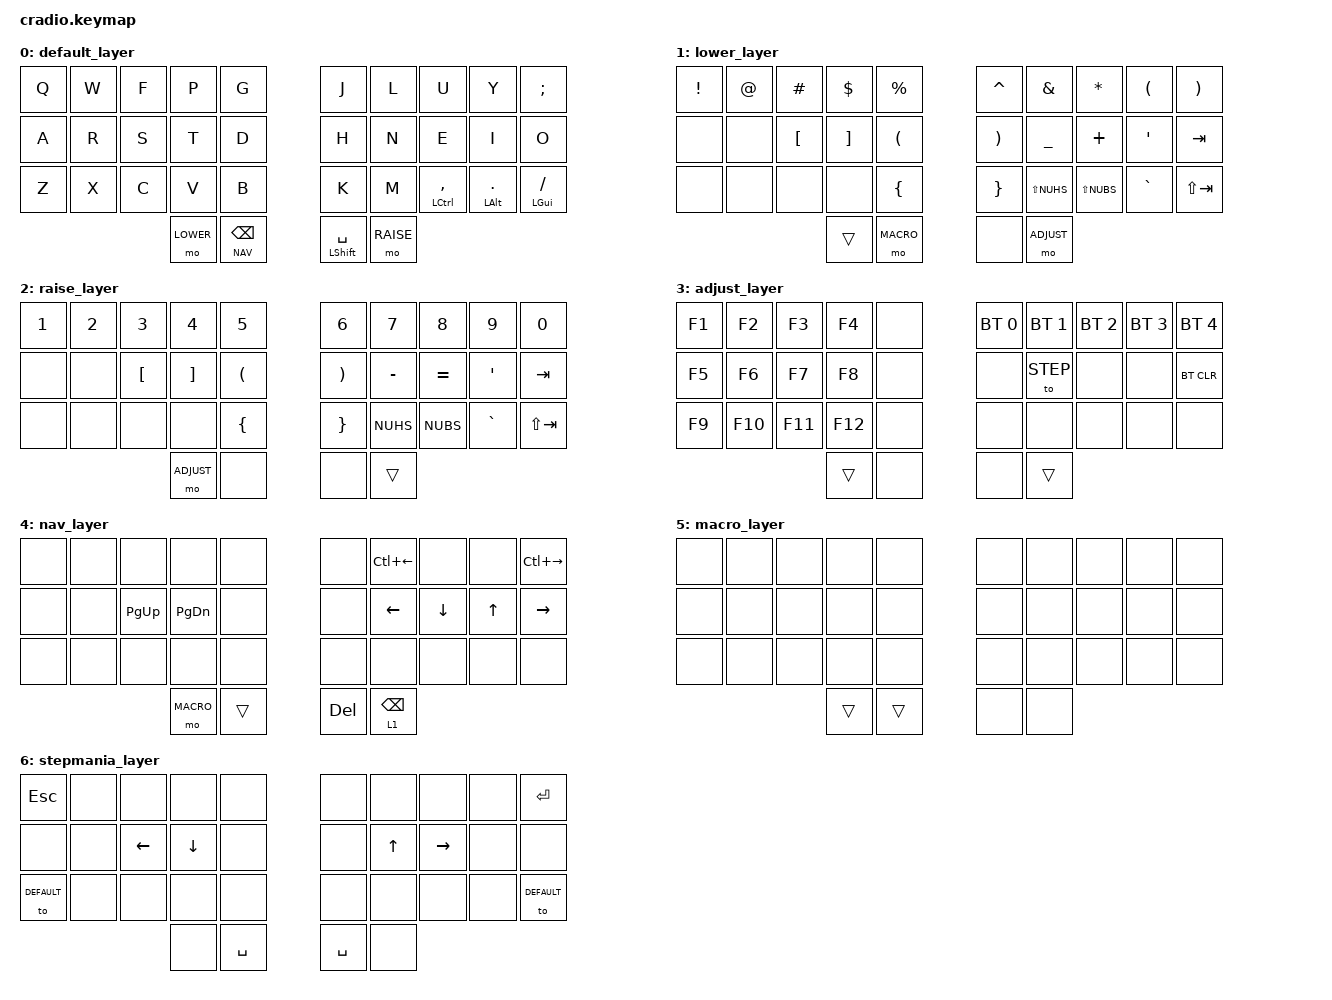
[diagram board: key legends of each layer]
// Copyright (c) 2022 The ZMK Contributors
// SPDX-License-Identifier: MIT

#include <behaviors.dtsi>
#include <dt-bindings/zmk/keys.h>
#include <dt-bindings/zmk/bt.h>

// This stuff is to fix the wiring
#undef RC
#include <dt-bindings/zmk/matrix_transform.h>

#define DEFAULT 0
#define LOWER 1
#define RAISE 2
#define ADJUST 3
#define NAV 4
#define MACRO 5
#define STEP 6

&mt {
    tapping-term-ms = <125>;
    flavor = "hold-preferred";
};

// The right side of my Sweep is all jumbled up. This fixes it
// I had to use a multimeter to test each switch and pin. Hope this helps someone
&default_transform {
		compatible = "zmk,matrix-transform";
		columns = <34>;
		rows = <1>;
		map = <
		RC(0,0)  RC(0,1)  RC(0,2)  RC(0,3)  RC(0,4)    RC(0,21) RC(0,20) RC(0,19) RC(0,18) RC(0,17)
		RC(0,5)  RC(0,6)  RC(0,7)  RC(0,8)  RC(0,9)    RC(0,27) RC(0,26) RC(0,24) RC(0,23) RC(0,22)
		RC(0,10) RC(0,11) RC(0,12) RC(0,13) RC(0,14)   RC(0,33) RC(0,31) RC(0,30) RC(0,32) RC(0,28)
		                           RC(0,15) RC(0,16)   RC(0,25) RC(0,29)
		>;
	};

// My Sweep swaps q and b for some reason.
&kscan0 {
	input-gpios
	= <&pro_micro  6 (GPIO_ACTIVE_LOW | GPIO_PULL_UP)> // was b, now q. was k, now ;
	, <&pro_micro 18 (GPIO_ACTIVE_LOW | GPIO_PULL_UP)> // w and y
	, <&pro_micro 19 (GPIO_ACTIVE_LOW | GPIO_PULL_UP)> // f and u
	, <&pro_micro 20 (GPIO_ACTIVE_LOW | GPIO_PULL_UP)> // p and l
	, <&pro_micro 21 (GPIO_ACTIVE_LOW | GPIO_PULL_UP)> // g and j
	, <&pro_micro 15 (GPIO_ACTIVE_LOW | GPIO_PULL_UP)> // a and o
	, <&pro_micro 14 (GPIO_ACTIVE_LOW | GPIO_PULL_UP)> // r and i
	, <&pro_micro 16 (GPIO_ACTIVE_LOW | GPIO_PULL_UP)> // s and e
	, <&pro_micro 10 (GPIO_ACTIVE_LOW | GPIO_PULL_UP)> // t and n
	, <&pro_micro  1 (GPIO_ACTIVE_LOW | GPIO_PULL_UP)> // d and h
	, <&pro_micro  2 (GPIO_ACTIVE_LOW | GPIO_PULL_UP)> // z and /
	, <&pro_micro  3 (GPIO_ACTIVE_LOW | GPIO_PULL_UP)> // x and .
	, <&pro_micro  4 (GPIO_ACTIVE_LOW | GPIO_PULL_UP)> // c and ,
	, <&pro_micro  5 (GPIO_ACTIVE_LOW | GPIO_PULL_UP)> // v and m
	, <&pro_micro  7 (GPIO_ACTIVE_LOW | GPIO_PULL_UP)> // was q, now b. was ;, now k
	, <&pro_micro  9 (GPIO_ACTIVE_LOW | GPIO_PULL_UP)> // l1 and r1
	, <&pro_micro  8 (GPIO_ACTIVE_LOW | GPIO_PULL_UP)> // l2 and r2
	;
};

/ {
    
    combos {
        compatible = "zmk,combos";
        combo_esc {
            timeout-ms = <50>;
            key-positions = <13 14>;
            bindings = <&kp ESC>;
        };
        combo_enter {
            timeout-ms = <50>;
            key-positions = <15 16>;
            bindings = <&kp ENTER>;
        };
        combo_quote {
            timeout-ms = <50>;
            key-positions = <17 18>;
            bindings = <&kp DQT>;
        };
    };

    keymap {
        compatible = "zmk,keymap";
        default_layer {
            bindings = <
            &kp Q      &kp W      &kp F      &kp P      &kp G          &kp J      &kp L      &kp U      &kp Y      &kp SEMI
            &kp A      &kp R      &kp S      &kp T      &kp D          &kp H      &kp N      &kp E      &kp I      &kp O
            &kp Z      &kp X      &kp C      &kp V      &kp B          &kp K      &kp M      &mt LCTRL COMMA  &mt LALT DOT    &mt LGUI FSLH
                                             &mo LOWER  &lt NAV BSPC   &mt LSHFT SPACE  &mo RAISE
             >;
        };
        lower_layer {
            bindings = <
            &kp EXCL   &kp AT     &kp HASH   &kp DOLLAR  &kp PERCENT    &kp CARET  &kp AMPS      &kp ASTRK     &kp LPAR   &kp RPAR
            &none      &none      &kp LBKT   &kp RBKT    &kp LPAR       &kp RPAR   &kp UNDER     &kp PLUS      &kp SQT    &kp TAB
            &none      &none      &none      &none       &kp LBRC       &kp RBRC   &kp LS(NUHS)  &kp LS(NUBS)  &kp GRAVE  &kp LS(TAB)
                                             &trans      &mo MACRO      &none      &mo ADJUST
             >;
        };
        raise_layer {
            bindings = <
            &kp N1     &kp N2     &kp N3     &kp N4      &kp N5         &kp N6     &kp N7     &kp N8     &kp N9     &kp N0
            &none      &none      &kp LBKT   &kp RBKT    &kp LPAR       &kp RPAR   &kp MINUS  &kp EQUAL  &kp SQT    &kp TAB
            &none      &none      &none      &none       &kp LBRC       &kp RBRC   &kp NUHS   &kp NUBS   &kp GRAVE  &kp LS(TAB)
                                             &mo ADJUST  &none          &none      &trans
             >;
        };
        adjust_layer {
            bindings = <
            &kp F1     &kp F2     &kp F3     &kp F4     &none          &bt BT_SEL 0  &bt BT_SEL 1  &bt BT_SEL 2  &bt BT_SEL 3  &bt BT_SEL 4
            &kp F5     &kp F6     &kp F7     &kp F8     &none          &none         &to STEP      &none         &none         &bt BT_CLR
            &kp F9     &kp F10    &kp F11    &kp F12    &none          &none         &none         &none         &none         &none
                                             &trans     &none          &none         &trans
             >;
        };
        nav_layer {
            bindings = <
            &none      &none      &none      &none       &none          &none       &kp LC(LEFT) &none      &none      &kp LC(RIGHT)
            &none      &none      &kp PG_UP  &kp PG_DN   &none          &none       &kp LEFT     &kp DOWN   &kp UP     &kp RIGHT
            &none      &none      &none      &none       &none          &none       &none        &none      &none      &none
                                             &mo MACRO   &trans         &kp DELETE  &lt 1 BSPC
             >;
        };
        macro_layer {
            bindings = <
            &none &none &none &none &none &none &none &none &none &none
            &none &none &none &none &none &none &none &none &none &none
            &none &none &none &none &none &none &none &none &none &none
                                        &trans        &trans        &none        &none
             >;
        };
        stepmania_layer {
            bindings = <
            &kp ESC      &none      &none      &none      &none          &none      &none        &none      &none      &kp ENTER
            &none        &none      &kp LEFT   &kp DOWN   &none          &none      &kp UP       &kp RIGHT  &none      &none
            &to DEFAULT  &none      &none      &none      &none          &none      &none        &none      &none      &to DEFAULT
                                               &none      &kp SPACE      &kp SPACE  &none
             >;
        };
    };
};
